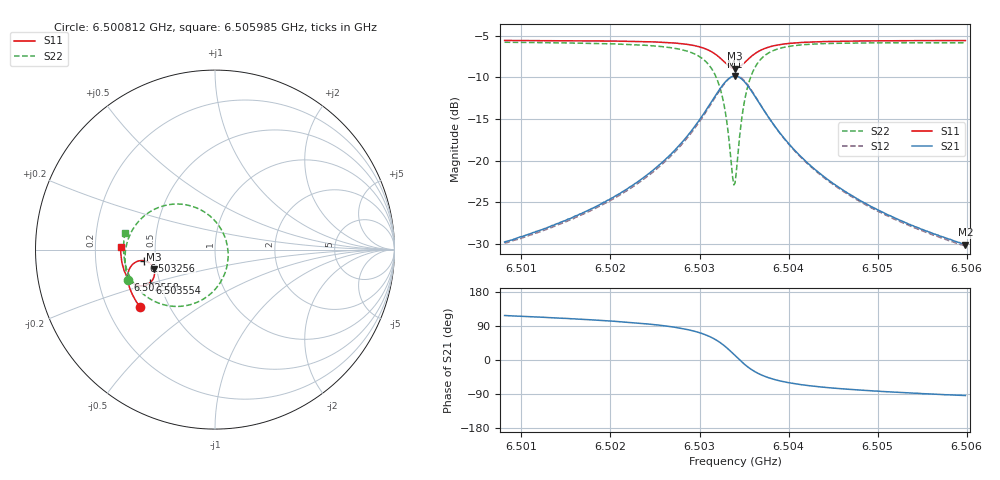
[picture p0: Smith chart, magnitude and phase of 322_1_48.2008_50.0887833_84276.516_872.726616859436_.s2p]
#  HZ  S  RI  R  50.00
! Rohde & Schwarz Vector Network Analyzer
! Rohde-Schwarz,ZNB20-2Port,1311601062101988,3.16
! Created: UTC 3/20/2024, 11:50:31 AM
! freq[Hz]  re:S11  im:S11  re:S21  im:S21  re:S12  im:S12  re:S22  im:S22
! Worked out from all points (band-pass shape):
!   401 points, 6.500812 GHz to 6.505985 GHz, reference 50 ohm
!   highest |S21| = -9.84 dB at 6.503399 GHz (marker M1); lowest = -30.1 dB at 6.505985 GHz (marker M2)
!   |S21| within 3 dB of the highest: 6.50314 GHz to 6.503657 GHz (517.5 kHz wide, 0.00796 % of centre)
!   lowest |S11| = -8.9 dB at 6.503399 GHz (marker M3), VSWR 2.11, Z = 24.1 - j6.1 ohm
!   |S11| at or under -10 dB: nowhere
!   |S22| runs from -22.9 to -5.8 dB; largest |S21 - S12| = 0.011
!   S11 on the Smith chart (normalised r, x): 6.500812 GHz: 0.34, -0.30; 6.502558 GHz: 0.33, -0.15; 6.503256 GHz: 0.43, -0.06; 6.503554 GHz: 0.44, -0.20; 6.505985 GHz: 0.31, +0.01
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6.5008118e9  -0.4198 -0.3177  -0.015 0.0289  -0.0133 0.0291  -0.4858 -0.1666
6.5016784e9  -0.4581 -0.2548  -0.0144 0.0462  -0.0122 0.0459  -0.5013 -0.0766
6.5021699e9  -0.4759 -0.212  -0.0117 0.0659  -0.00865 0.0649  -0.4992 -0.00846
6.502545e9  -0.4851 -0.1715  -0.00314 0.094  0.000342 0.0918  -0.4814 0.0645
6.5025579e9  -0.4854 -0.1698  -0.00262 0.0953  0.000936 0.0931  -0.48 0.0675
6.5028424e9  -0.4837 -0.1282  0.0204 0.1351  0.0241 0.1309  -0.4321 0.1498
6.5030364e9  -0.4667 -0.0909  0.0667 0.1756  0.0694 0.1698  -0.3428 0.2221
6.5031658e9  -0.4352 -0.0666  0.1353 0.198  0.1363 0.1918  -0.2183 0.2538
6.5032563e9  -0.3973 -0.0616  0.2106 0.1882  0.2108 0.1829  -0.0875 0.2257
6.503308e9  -0.3722 -0.07  0.2582 0.1606  0.259 0.1561  -0.00829 0.1689
6.5033727e9  -0.346 -0.096  0.3052 0.0979  0.3076 0.0931  0.0623 0.0485
6.5033986e9  -0.3397 -0.1102  0.3151 0.0664  0.3181 0.0606  0.0728 -0.0103
6.5034115e9  -0.3378 -0.1178  0.3178 0.0498  0.3209 0.0438  0.0733 -0.0404
6.5034891e9  -0.3439 -0.1619  0.301 -0.0429  0.3029 -0.0526  0.0164 -0.2024
6.5035538e9  -0.3646 -0.1871  0.2592 -0.0961  0.258 -0.1068  -0.078 -0.2833
6.5036572e9  -0.4034 -0.2017  0.1861 -0.1315  0.1809 -0.1405  -0.2246 -0.3165
6.5038254e9  -0.4487 -0.192  0.1063 -0.1285  0.0995 -0.1334  -0.3684 -0.2708
6.5040065e9  -0.4757 -0.1707  0.0628 -0.1091  0.0567 -0.1112  -0.439 -0.2072
6.5042651e9  -0.4961 -0.1406  0.0334 -0.0855  0.0288 -0.086  -0.4817 -0.1359
6.5046531e9  -0.5117 -0.1007  0.0147 -0.0629  0.0115 -0.0625  -0.5037 -0.0618
6.5051317e9  -0.5213 -0.057  0.00489 -0.0468  0.00271 -0.0462  -0.5097 0.00393
6.5059853e9  -0.5258 0.0148  -0.00207 -0.0313  -0.00337 -0.0306  -0.5014 0.0926
